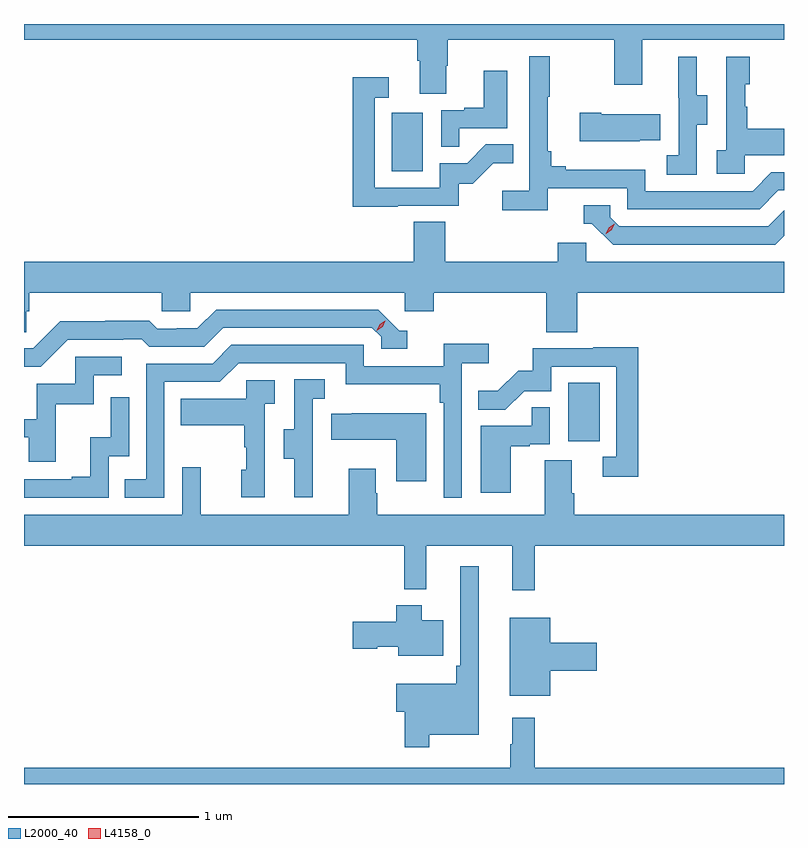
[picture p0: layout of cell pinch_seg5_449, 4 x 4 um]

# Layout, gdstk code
import gdstk
lib = gdstk.Library(unit=1e-6, precision=1e-09)
def R(c, l, rs):  # rectangles x0, y0, x1, y1
    for r in rs: c.add(gdstk.rectangle(r[:2], r[2:], *l))
def P(c, l, *ps):  # polygons
    for p in ps: c.add(gdstk.Polygon(p, *l))
L2000_40 = (2000, 40)
L4158_0 = (4158, 0)

pinch_seg5_449 = lib.new_cell('pinch_seg5_449')
R(pinch_seg5_449, L2000_40, [(926.156,859.974,926.32,860.281), (925.226,861.396,925.39,861.703)])
P(pinch_seg5_449, L2000_40, [(923.291,862.088),(925.361,862.088),(925.361,861.976),(925.373,861.976),(925.373,861.802),(925.513,861.802),(925.513,861.951),(925.521,861.951),(925.521,862.088),(926.398,862.088),(926.398,861.849),(926.545,861.849),(926.545,862.088),(927.291,862.088),(927.291,862.17),(923.291,862.17)],
  [(926.048,861.306),(926.466,861.306),(926.466,861.195),(927.163,861.195),(927.262,861.294),(927.291,861.294),(927.291,861.39),(927.225,861.39),(927.126,861.291),(926.562,861.291),(926.562,861.403),(926.143,861.403),(926.143,861.422),(926.066,861.422),(926.066,861.499),(926.047,861.499),(926.047,861.787),(926.059,861.787),(926.059,862),(925.95,862),(925.95,861.292),(925.809,861.292),(925.809,861.19),(926.048,861.19)],
  [(927.084,861.479),(927.291,861.479),(927.291,861.619),(927.097,861.619),(927.097,861.734),(927.087,861.734),(927.087,861.852),(927.112,861.852),(927.112,861.997),(926.988,861.997),(926.988,861.506),(926.937,861.506),(926.937,861.381),(927.084,861.381)],
  [(926.832,861.64),(926.887,861.64),(926.887,861.795),(926.833,861.795),(926.833,861.997),(926.735,861.997),(926.735,861.783),(926.736,861.783),(926.736,861.479),(926.673,861.479),(926.673,861.376),(926.832,861.376)],
  [(925.583,861.621),(925.834,861.621),(925.834,861.925),(925.712,861.925),(925.712,861.73),(925.609,861.73),(925.609,861.717),(925.488,861.717),(925.488,861.523),(925.583,861.523)],
  [(925.259,861.213),(925.578,861.213),(925.578,861.33),(925.654,861.33),(925.761,861.437),(925.865,861.437),(925.865,861.536),(925.722,861.536),(925.624,861.438),(925.479,861.438),(925.479,861.309),(925.137,861.309),(925.137,861.783),(925.21,861.783),(925.21,861.889),(925.021,861.889),(925.021,861.208),(925.259,861.208)],
  [(926.531,861.557),(926.639,861.557),(926.639,861.694),(926.329,861.694),(926.329,861.702),(926.217,861.702),(926.217,861.554),(926.531,861.554)],
  [(927.291,861.056),(927.291,861.189),(927.207,861.105),(926.424,861.105),(926.376,861.153),(926.376,861.216),(926.237,861.216),(926.237,861.12),(926.28,861.12),(926.391,861.009),(927.244,861.009)],
  [(923.291,860.548),(923.303,860.548),(923.303,860.658),(923.318,860.658),(923.318,860.756),(924.015,860.756),(924.015,860.658),(924.165,860.658),(924.165,860.756),(925.296,860.756),(925.296,860.658),(925.448,860.658),(925.448,860.756),(926.039,860.756),(926.039,860.548),(926.204,860.548),(926.204,860.756),(927.291,860.756),(927.291,860.92),(926.25,860.92),(926.25,861.018),(926.099,861.018),(926.099,860.92),(925.508,860.92),(925.508,861.128),(925.343,861.128),(925.343,860.92),(923.291,860.92)],
  [(923.52,860.508),(923.813,860.508),(923.813,860.511),(923.912,860.511),(923.951,860.472),(924.24,860.472),(924.339,860.571),(925.122,860.571),(925.17,860.523),(925.17,860.46),(925.309,860.46),(925.309,860.556),(925.266,860.556),(925.155,860.667),(924.302,860.667),(924.203,860.568),(924.096,860.568),(924.096,860.565),(923.993,860.565),(923.951,860.608),(923.718,860.608),(923.718,860.605),(923.482,860.605),(923.34,860.463),(923.291,860.463),(923.291,860.367),(923.379,860.367)],
  [(924.03,860.286),(924.321,860.286),(924.42,860.385),(924.984,860.385),(924.984,860.273),(925.48,860.273),(925.48,860.177),(925.5,860.177),(925.5,859.677),(925.596,859.677),(925.596,860.384),(925.738,860.384),(925.738,860.486),(925.499,860.486),(925.499,860.37),(925.08,860.37),(925.08,860.481),(924.383,860.481),(924.284,860.382),(923.934,860.382),(923.934,859.773),(923.821,859.773),(923.821,859.677),(924.03,859.677)],
  [(926.525,860.468),(926.287,860.468),(926.287,860.463),(925.969,860.463),(925.969,860.346),(925.892,860.346),(925.785,860.239),(925.681,860.239),(925.681,860.14),(925.825,860.14),(925.923,860.238),(926.067,860.238),(926.067,860.367),(926.409,860.367),(926.409,859.893),(926.337,859.893),(926.337,859.788),(926.525,859.788)],
  [(923.459,860.169),(923.658,860.169),(923.658,860.322),(923.806,860.322),(923.806,860.418),(923.562,860.418),(923.562,860.277),(923.357,860.277),(923.357,860.091),(923.291,860.091),(923.291,859.995),(923.315,859.995),(923.315,859.866),(923.459,859.866)],
  [(924.812,859.893),(924.81,859.893),(924.81,860.197),(924.874,860.197),(924.874,860.3),(924.714,860.3),(924.714,860.037),(924.659,860.037),(924.659,859.882),(924.713,859.882),(924.713,859.68),(924.812,859.68)],
  [(924.558,860.171),(924.61,860.171),(924.61,860.295),(924.462,860.295),(924.462,860.197),(924.115,860.197),(924.115,860.057),(924.45,860.057),(924.45,859.943),(924.46,859.943),(924.46,859.824),(924.434,859.824),(924.434,859.68),(924.558,859.68)],
  [(923.736,859.896),(923.844,859.896),(923.844,860.206),(923.748,860.206),(923.748,859.994),(923.639,859.994),(923.639,859.786),(923.543,859.786),(923.543,859.773),(923.291,859.773),(923.291,859.677),(923.736,859.677)],
  [(925.852,859.947),(925.952,859.947),(925.952,859.959),(926.058,859.959),(926.058,860.153),(925.963,860.153),(925.963,860.055),(925.694,860.055),(925.694,859.704),(925.852,859.704)],
  [(925.408,860.122),(925.015,860.122),(925.015,860.119),(924.907,860.119),(924.907,859.982),(925.25,859.982),(925.25,859.764),(925.408,859.764)],
  [(925.979,859.424),(927.291,859.424),(927.291,859.588),(926.186,859.588),(926.186,859.7),(926.173,859.7),(926.173,859.874),(926.033,859.874),(926.033,859.588),(925.149,859.588),(925.149,859.7),(925.141,859.7),(925.141,859.828),(925.001,859.828),(925.001,859.588),(924.221,859.588),(924.221,859.837),(924.123,859.837),(924.123,859.588),(923.291,859.588),(923.291,859.424),(925.291,859.424),(925.291,859.196),(925.409,859.196),(925.409,859.424),(925.862,859.424),(925.862,859.191),(925.979,859.191)],
  [(925.423,858.428),(925.684,858.428),(925.684,859.315),(925.587,859.315),(925.587,858.793),(925.567,858.793),(925.567,858.697),(925.25,858.697),(925.25,858.55),(925.294,858.55),(925.294,858.363),(925.423,858.363)],
  [(925.498,859.033),(925.384,859.033),(925.384,859.111),(925.25,859.111),(925.25,859.023),(925.02,859.023),(925.02,858.881),(925.149,858.881),(925.149,858.893),(925.262,858.893),(925.262,858.845),(925.498,858.845)],
  [(926.062,858.767),(926.305,858.767),(926.305,858.914),(926.062,858.914),(926.062,859.045),(925.847,859.045),(925.847,858.635),(926.062,858.635)],
  [(927.291,858.256),(925.979,858.256),(925.979,858.52),(925.862,858.52),(925.862,858.38),(925.851,858.38),(925.851,858.256),(923.291,858.256),(923.291,858.17),(927.291,858.17)])
P(pinch_seg5_449, L4158_0, [(926.354,861.066),(926.354,861.066),(926.37,861.099),(926.4,861.119),(926.4,861.119),(926.4,861.119),(926.385,861.086),(926.355,861.066)],
  [(925.147,860.556),(925.147,860.556),(925.163,860.589),(925.193,860.609),(925.193,860.609),(925.193,860.608),(925.178,860.576),(925.147,860.556)])

lib.write_gds('pinch_seg5_449.gds')
